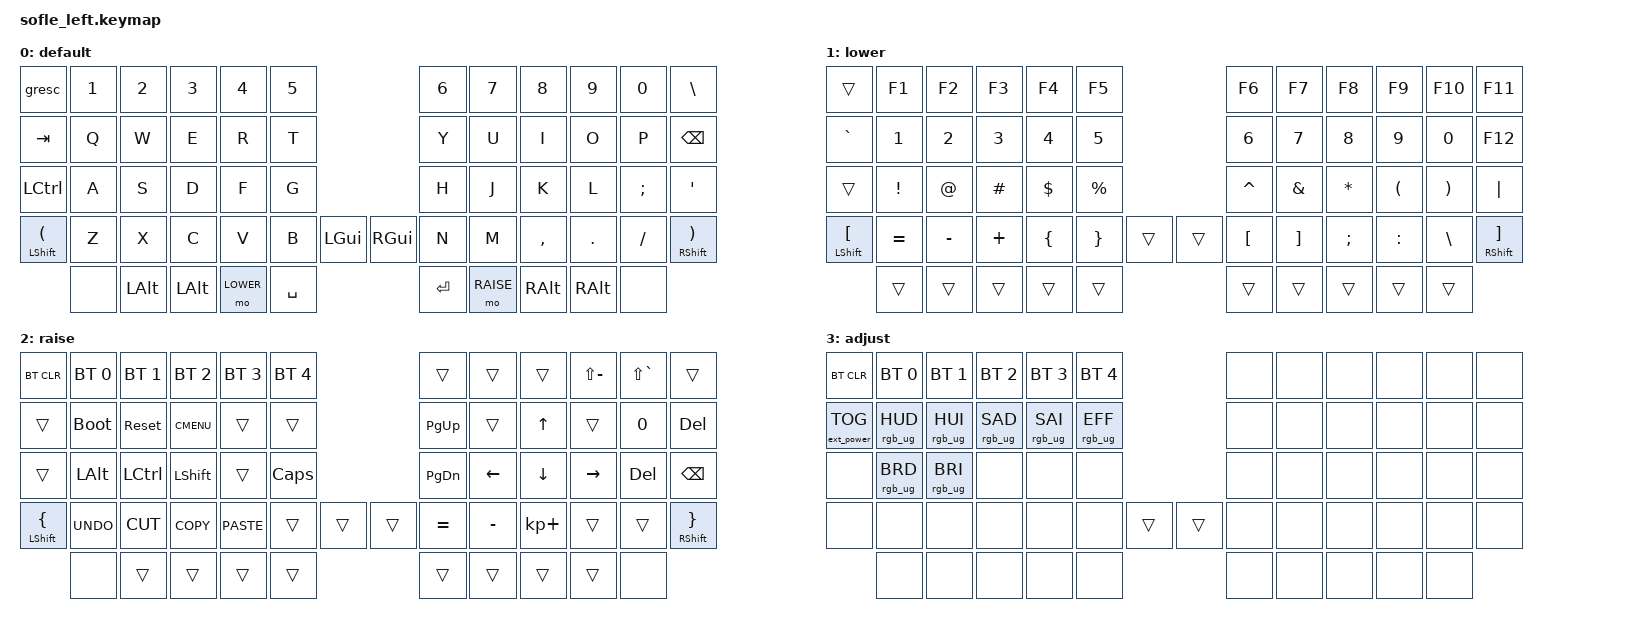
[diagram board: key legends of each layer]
/*
 * Copyright (c) 2020 The ZMK Contributors
 *
 * SPDX-License-Identifier: MIT
 */

#include <behaviors.dtsi>
#include <dt-bindings/zmk/keys.h>
#include <dt-bindings/zmk/bt.h>
#include <dt-bindings/zmk/rgb.h>
#include <dt-bindings/zmk/ext_power.h>

#define BASE 0
#define LOWER 1
#define RAISE 2
#define ADJUST 3

&kscan0 {
	row-gpios
	  = <&gpio0 17 (GPIO_ACTIVE_HIGH | GPIO_PULL_DOWN)>
	  , <&gpio0 20 (GPIO_ACTIVE_HIGH | GPIO_PULL_DOWN)>
	  , <&gpio0 22 (GPIO_ACTIVE_HIGH | GPIO_PULL_DOWN)>
	  , <&gpio0 24 (GPIO_ACTIVE_HIGH | GPIO_PULL_DOWN)>
	  , <&gpio1 0 (GPIO_ACTIVE_HIGH | GPIO_PULL_DOWN)>
	  ;
	 col-gpios
	  = <&gpio1 11 GPIO_ACTIVE_HIGH >
	  , <&gpio1 13 GPIO_ACTIVE_HIGH >
	  , <&gpio0 2  GPIO_ACTIVE_HIGH >
	  , <&gpio1 15 GPIO_ACTIVE_HIGH >
	  , <&gpio1 4  GPIO_ACTIVE_HIGH >
	  , <&gpio0 11  GPIO_ACTIVE_HIGH >
	  ;
};

/ {

   // Activate ADJUST layer by pressing raise and lower
    conditional_layers {
        compatible = "zmk,conditional-layers";
        adjust_layer {
            if-layers = <LOWER RAISE>;
            then-layer = <ADJUST>;
        };
    };

    behaviors {
        gresc: grave_escape {
            compatible = "zmk,behavior-mod-morph";
            label = "GRAVE_ESCAPE";
            #binding-cells = <0>;
            bindings = <&kp ESC>, <&kp GRAVE>;
            mods = <(MOD_LGUI|MOD_LSFT|MOD_RGUI|MOD_RSFT)>;
        };
    };

    keymap {
        compatible = "zmk,keymap";

        default_layer {
            display-name = "default";
//The missing keythat would be a sofle encoder is the 0th/11th column on bottom row, so the bottom outer key, the encoder is really the bottom right key
// ------------------------------------------------------------------------------------------------------------
// |   `   |  1  |  2  |  3   |  4   |  5   |                   |  6   |  7    |  8    |  9   |   0   |       |
// |  ESC  |  Q  |  W  |  E   |  R   |  T   |                   |  Y   |  U    |  I    |  O   |   P   | BKSPC |
// |  TAB  |  A  |  S  |  D   |  F   |  G   |                   |  H   |  J    |  K    |  L   |   ;   |   '   |
// | SHIFT |  Z  |  X  |  C   |  V   |  B   |                   |  N   |  M    |  ,    |  .   |   /   | SHIFT |
//               | GUI | ALT  | CTRL | LOWER|  ENTER |  | SPACE | RAISE| CTRL  | ALT   | GUI  |
            bindings = <
&gresc         &kp N1 &kp N2   &kp N3   &kp N4 &kp N5                   &kp N6 &kp N7    &kp N8    &kp N9   &kp N0   &kp BACKSLASH
&kp TAB        &kp Q  &kp W    &kp E    &kp R  &kp T                    &kp Y  &kp U     &kp I     &kp O    &kp P    &kp BSPC
&kp LCTRL      &kp A  &kp S    &kp D    &kp F  &kp G                    &kp H  &kp J     &kp K     &kp L    &kp SEMI &kp SQT
&mt LSHFT LPAR &kp Z  &kp X    &kp C    &kp V  &kp B &kp LGUI  &kp RGUI &kp N  &kp M     &kp COMMA &kp DOT  &kp FSLH &mt RSHFT RPAR
               &none &kp LALT &kp LALT &mo LOWER &kp SPACE              &kp RET   &mo RAISE &kp RALT  &kp RALT &none
            >;

        };

        lower_layer {
            display-name = "lower";
// TODO: Some binds are waiting for shifted keycode support.
// ------------------------------------------------------------------------------------------------------------
// |       |  F1 |  F2 |  F3  |  F4  |  F5  |                   |  F6  |  F7   |  F8   |  F9  |  F10  |  F11  |
// |   `   |  1  |  2  |  3   |  4   |  5   |                   |  6   |  7    |  8    |  9   |   0   |  F12  |
// |       |  !  |  @  |  #   |  $   |  %   |                   |  ^   |  &    |  *    |  (   |   )   |   |   |
// |       |  =  |  -  |  +   |  {   |  }   |                   |  [   |  ]    |  ;    |  :   |   \   |       |
//               |     |      |      |      |        |  |       |      |       |       |      |
            bindings = <
&trans    &kp F1    &kp F2    &kp F3      &kp F4    &kp F5                    &kp F6    &kp F7   &kp F8    &kp F9    &kp F10   &kp F11
&kp GRAVE &kp N1    &kp N2    &kp N3      &kp N4    &kp N5                    &kp N6    &kp N7   &kp N8    &kp N9    &kp N0    &kp F12
&trans    &kp EXCL  &kp AT    &kp HASH    &kp DLLR  &kp PRCNT                 &kp CARET &kp AMPS &kp ASTRK &kp LPAR  &kp RPAR  &kp PIPE
&mt LSHFT LBKT &kp EQUAL &kp MINUS &kp PLUS    &kp LBRC  &kp RBRC   &trans  &trans &kp LBKT  &kp RBKT &kp SEMI  &kp COLON &kp BSLH  &mt RSHFT RBKT
          &trans    &trans    &trans      &trans    &trans                    &trans    &trans   &trans    &trans    &trans
            >;

        };

        raise_layer {
            display-name = "raise";
// ------------------------------------------------------------------------------------------------------------
// | BTCLR | BT1  | BT2  |  BT3  |  BT4  |  BT5 |                |      |      |       |      |   _   |       |
// |       | INS  | PSCR | GUI   |       |      |                | PGUP |      |   ^   |      |       |  DEL  |
// |       | ALT  | CTRL | SHIFT |       | CAPS |                | PGDN |   <- |   v   |  ->  |  DEL  | BKSPC |
// |       | UNDO | CUT  | COPY  | PASTE |      |                |   =  |  -   |   +   |      |       |   }   |
//                |      |       |       |      |      |  |      |      |      |       |      |
            bindings = <
&bt BT_CLR &bt BT_SEL 0 &bt BT_SEL 1 &bt BT_SEL 2 &bt BT_SEL 3 &bt BT_SEL 4               &trans    &trans    &trans   &kp LS(MINUS)    &kp LS(GRAVE)  &trans
&trans     &bootloader  &sys_reset   &kp K_CMENU  &trans       &trans                     &kp PG_UP &trans    &kp UP   &trans    &kp N0  &kp DEL
&trans     &kp LALT     &kp LCTRL    &kp LSHFT    &trans       &kp CLCK                   &kp PG_DN &kp LEFT  &kp DOWN &kp RIGHT &kp DEL &kp BSPC
&mt LSHFT LBRC &kp K_UNDO   &kp K_CUT    &kp K_COPY   &kp K_PASTE  &trans  &trans  &trans &kp EQUAL &kp MINUS &kp KP_PLUS &trans    &trans  &mt RSHFT RBRC
           &none       &trans       &trans       &trans       &trans                      &trans    &trans    &trans   &trans    &none
            >;

        };
        
        adjust_layer {
// ----------------------------------------------------------------------------------------------------------------------------
// | BTCLR  |  BT1    |  BT2    |   BT3   |   BT4   |   BT5   |                  |      |      |       |      |       |       |
// | EXTPWR | RGB_HUD | RGB_HUI | RGB_SAD | RGB_SAI | RGB_EFF |                  |      |      |       |      |       |       |
// |        | RGB_BRD | RGB_BRI |         |         |         |                  |      |      |       |      |       |       |
// |        |         |         |         |         |         |                  |      |      |       |      |       |       |
//                    |         |         |         |         |         | |      |      |      |       |      |
            display-name = "adjust";
            bindings = <
&bt BT_CLR        &bt BT_SEL 0    &bt BT_SEL 1    &bt BT_SEL 2    &bt BT_SEL 3    &bt BT_SEL 4                            &none &none &none &none &none &none
&ext_power EP_TOG &rgb_ug RGB_HUD &rgb_ug RGB_HUI &rgb_ug RGB_SAD &rgb_ug RGB_SAI &rgb_ug RGB_EFF                         &none &none &none &none &none &none
&none             &rgb_ug RGB_BRD &rgb_ug RGB_BRI &none           &none           &none                                   &none &none &none &none &none &none
&none             &none           &none           &none           &none           &none     &trans    &trans              &none &none &none &none &none &none
                  &none           &none           &none           &none           &none                                   &none &none &none &none &none
            >;
        };

    };
};
